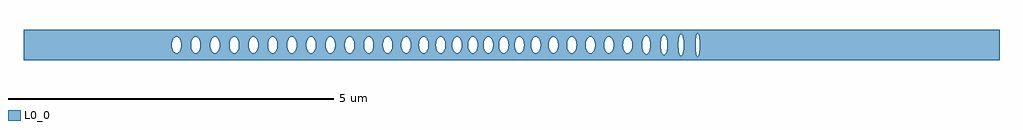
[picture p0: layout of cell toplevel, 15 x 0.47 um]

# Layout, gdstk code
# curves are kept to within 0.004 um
import gdstk
lib = gdstk.Library(unit=1e-6, precision=1e-09)
def P(c, l, *ps):  # polygons
    for p in ps: c.add(gdstk.Polygon(p, *l))
L0_0 = (0, 0)

toplevel = lib.new_cell('toplevel')
P(toplevel, L0_0, [(-4.629,0.016),(-4.621,0.061),(-4.603,0.098),(-4.603,0.234),(-7.5,0.234),(-7.5,-0.008),(-5.221,-0.008),(-5.216,0.047),(-5.198,0.093),(-5.175,0.119),(-5.148,0.128),(-5.114,0.112),(-5.09,0.075),(-5.078,0.032),(-5.077,-0.016),(-4.925,-0.016),(-4.922,0.039),(-4.909,0.081),(-4.888,0.112),(-4.853,0.128),(-4.826,0.119),(-4.803,0.093),(-4.785,0.047),(-4.78,0),(-4.785,-0.047),(-4.803,-0.093),(-4.826,-0.119),(-4.853,-0.128),(-4.879,-0.119),(-4.899,-0.098),(-4.914,-0.068),(-4.925,-0.016),(-5.077,-0.016),(-5.087,-0.068),(-5.102,-0.098),(-5.122,-0.119),(-5.148,-0.128),(-5.175,-0.119),(-5.195,-0.098),(-5.21,-0.068),(-5.221,-0.008),(-7.5,-0.008),(-7.5,-0.234),(-4.603,-0.234),(-4.603,-0.098),(-4.623,-0.054)],
  [(-4.596,0.108),(-4.584,0.119),(-4.557,0.128),(-4.53,0.119),(-4.518,0.108),(-4.501,0.081),(-4.49,0.047),(-4.485,-0.008),(-4.334,-0.008),(-4.329,0.047),(-4.308,0.098),(-4.284,0.121),(-4.261,0.128),(-4.248,0.125),(-4.223,0.108),(-4.203,0.075),(-4.191,0.032),(-4.189,-0.008),(-4.194,-0.047),(-4.212,-0.093),(-4.235,-0.119),(-4.261,-0.128),(-4.288,-0.119),(-4.308,-0.098),(-4.323,-0.068),(-4.334,-0.008),(-4.485,-0.008),(-4.501,-0.081),(-4.53,-0.119),(-4.557,-0.128),(-4.571,-0.125),(-4.603,-0.098),(-4.603,-0.234),(-3.952,-0.234),(-3.952,-0.125),(-3.979,-0.125),(-4.005,-0.108),(-4.027,-0.068),(-4.038,-0.016),(-4.035,0.039),(-4.019,0.087),(-3.992,0.119),(-3.966,0.128),(-3.952,0.125),(-3.952,0.234),(-4.603,0.234),(-4.603,0.098)],
  [(-3.446,0.016),(-3.442,0.047),(-3.424,0.093),(-3.409,0.112),(-3.388,0.125),(-3.374,0.128),(-3.348,0.119),(-3.328,0.098),(-3.313,0.068),(-3.313,0.234),(-3.952,0.234),(-3.952,0.125),(-3.927,0.108),(-3.907,0.075),(-3.898,0.047),(-3.894,-0.016),(-3.742,-0.016),(-3.74,0.032),(-3.729,0.075),(-3.705,0.112),(-3.67,0.128),(-3.643,0.119),(-3.624,0.098),(-3.609,0.068),(-3.598,0.016),(-3.601,-0.039),(-3.614,-0.081),(-3.643,-0.119),(-3.67,-0.128),(-3.697,-0.119),(-3.72,-0.093),(-3.734,-0.061),(-3.742,-0.016),(-3.894,-0.016),(-3.898,-0.047),(-3.916,-0.093),(-3.931,-0.112),(-3.952,-0.125),(-3.952,-0.234),(-3.313,-0.234),(-3.313,-0.068),(-3.328,-0.098),(-3.348,-0.119),(-3.374,-0.128),(-3.401,-0.119),(-3.421,-0.098),(-3.436,-0.068),(-3.446,-0.024)],
  [(-2.558,-0.032),(-2.556,0.234),(-3.313,0.234),(-3.313,0.068),(-3.303,0.024),(-3.303,-0.016),(-3.151,-0.016),(-3.148,0.039),(-3.135,0.081),(-3.114,0.112),(-3.079,0.128),(-3.052,0.119),(-3.029,0.093),(-3.011,0.047),(-3.007,-0.016),(-2.855,-0.016),(-2.853,0.032),(-2.842,0.075),(-2.818,0.112),(-2.783,0.128),(-2.756,0.119),(-2.737,0.098),(-2.724,0.075),(-2.711,0.016),(-2.713,-0.032),(-2.724,-0.075),(-2.748,-0.112),(-2.783,-0.128),(-2.81,-0.119),(-2.833,-0.093),(-2.847,-0.061),(-2.855,-0.016),(-3.007,-0.016),(-3.011,-0.047),(-3.029,-0.093),(-3.052,-0.119),(-3.079,-0.128),(-3.105,-0.119),(-3.125,-0.098),(-3.14,-0.068),(-3.151,-0.016),(-3.303,-0.016),(-3.313,-0.068),(-3.313,-0.234),(-2.556,-0.234)],
  [(-1.975,0.016),(-1.969,0.054),(-1.953,0.093),(-1.93,0.119),(-1.903,0.128),(-1.903,0.234),(-2.556,0.234),(-2.556,0.039),(-2.534,0.098),(-2.514,0.119),(-2.487,0.128),(-2.453,0.112),(-2.429,0.075),(-2.417,0.032),(-2.416,-0.016),(-2.265,-0.016),(-2.263,0.032),(-2.252,0.075),(-2.228,0.112),(-2.193,0.128),(-2.166,0.119),(-2.143,0.093),(-2.127,0.054),(-2.121,0.016),(-2.123,-0.032),(-2.134,-0.075),(-2.158,-0.112),(-2.193,-0.128),(-2.22,-0.119),(-2.243,-0.093),(-2.265,-0.016),(-2.416,-0.016),(-2.426,-0.068),(-2.441,-0.098),(-2.461,-0.119),(-2.487,-0.128),(-2.514,-0.119),(-2.526,-0.108),(-2.546,-0.075),(-2.556,-0.042),(-2.556,-0.234),(-1.903,-0.234),(-1.903,-0.128),(-1.93,-0.119),(-1.953,-0.093),(-1.969,-0.054)],
  [(-1.903,0.234),(-1.903,0.128),(-1.876,0.119),(-1.85,0.087),(-1.834,0.039),(-1.831,-0.008),(-1.694,-0.008),(-1.689,0.047),(-1.671,0.093),(-1.648,0.119),(-1.621,0.128),(-1.595,0.119),(-1.575,0.098),(-1.56,0.068),(-1.549,0.016),(-1.552,-0.039),(-1.565,-0.081),(-1.586,-0.112),(-1.621,-0.128),(-1.648,-0.119),(-1.671,-0.093),(-1.689,-0.047),(-1.694,-0.008),(-1.831,-0.008),(-1.834,-0.039),(-1.85,-0.087),(-1.876,-0.119),(-1.903,-0.128),(-1.903,-0.234),(-1.291,-0.234),(-1.291,-0.075),(-1.323,-0.119),(-1.349,-0.128),(-1.376,-0.119),(-1.396,-0.098),(-1.411,-0.068),(-1.422,-0.008),(-1.411,0.068),(-1.396,0.098),(-1.376,0.119),(-1.349,0.128),(-1.323,0.119),(-1.291,0.075),(-1.291,0.234)],
  [(-1.278,-0.024),(-1.291,-0.075),(-1.291,-0.234),(-0.644,-0.234),(-0.644,-0.093),(-0.662,-0.047),(-0.667,-0.008),(-0.662,0.047),(-0.644,0.093),(-0.644,0.234),(-1.291,0.234),(-1.291,0.074),(-1.279,0.032),(-1.277,-0.008),(-1.161,-0.008),(-1.156,0.047),(-1.138,0.093),(-1.115,0.119),(-1.088,0.128),(-1.062,0.119),(-1.039,0.093),(-1.021,0.047),(-1.016,-0.008),(-0.91,-0.008),(-0.905,0.047),(-0.88,0.103),(-0.851,0.125),(-0.837,0.128),(-0.811,0.119),(-0.791,0.098),(-0.776,0.068),(-0.765,-0.008),(-0.779,-0.075),(-0.802,-0.112),(-0.819,-0.123),(-0.851,-0.125),(-0.88,-0.103),(-0.901,-0.061),(-0.91,-0.008),(-1.016,-0.008),(-1.021,-0.047),(-1.039,-0.093),(-1.062,-0.119),(-1.088,-0.128),(-1.115,-0.119),(-1.135,-0.098),(-1.15,-0.068),(-1.161,-0.008),(-1.277,-0.008)],
  [(-0.19,0.016),(-0.18,0.068),(-0.165,0.098),(-0.145,0.119),(-0.11,0.126),(-0.11,0.234),(-0.644,0.234),(-0.644,0.093),(-0.629,0.112),(-0.608,0.125),(-0.581,0.125),(-0.559,0.112),(-0.533,0.068),(-0.524,0.032),(-0.522,-0.016),(-0.428,-0.016),(-0.425,0.039),(-0.412,0.081),(-0.391,0.112),(-0.356,0.128),(-0.329,0.119),(-0.306,0.093),(-0.29,0.054),(-0.283,0),(-0.297,-0.075),(-0.317,-0.108),(-0.342,-0.125),(-0.369,-0.125),(-0.395,-0.108),(-0.417,-0.068),(-0.428,-0.016),(-0.522,-0.016),(-0.533,-0.068),(-0.545,-0.093),(-0.559,-0.112),(-0.581,-0.125),(-0.594,-0.128),(-0.621,-0.119),(-0.644,-0.093),(-0.644,-0.234),(-0.11,-0.234),(-0.11,-0.126),(-0.145,-0.119),(-0.168,-0.093),(-0.186,-0.047)],
  [(0.444,-0.039),(0.434,-0.075),(0.414,-0.108),(0.389,-0.125),(0.362,-0.125),(0.34,-0.112),(0.317,-0.075),(0.305,-0.032),(0.303,0.008),(0.308,0.047),(0.326,0.093),(0.349,0.119),(0.375,0.128),(0.402,0.119),(0.422,0.098),(0.437,0.068),(0.448,0.008),(0.448,0.234),(-0.11,0.234),(-0.11,0.126),(-0.08,0.108),(-0.06,0.075),(-0.048,0.032),(-0.046,-0.008),(0.05,-0.008),(0.055,0.047),(0.073,0.093),(0.096,0.119),(0.122,0.128),(0.149,0.119),(0.169,0.098),(0.186,0.061),(0.195,0.008),(0.19,-0.047),(0.172,-0.093),(0.149,-0.119),(0.122,-0.128),(0.096,-0.119),(0.076,-0.098),(0.061,-0.068),(0.05,-0.008),(-0.046,-0.008),(-0.051,-0.047),(-0.069,-0.093),(-0.092,-0.119),(-0.11,-0.126),(-0.11,-0.234),(0.448,-0.234),(0.448,-0.008)],
  [(1.14,0.016),(1.148,0.061),(1.169,0.103),(1.169,0.234),(0.448,0.234),(0.448,-0.016),(0.573,-0.016),(0.575,0.032),(0.586,0.075),(0.61,0.112),(0.645,0.128),(0.672,0.119),(0.698,0.087),(0.714,0.039),(0.717,-0.008),(0.854,-0.008),(0.859,0.047),(0.877,0.093),(0.9,0.119),(0.926,0.128),(0.953,0.119),(0.973,0.098),(0.988,0.068),(0.999,0.008),(0.994,-0.047),(0.976,-0.093),(0.953,-0.119),(0.926,-0.128),(0.9,-0.119),(0.88,-0.098),(0.865,-0.068),(0.854,-0.008),(0.717,-0.008),(0.714,-0.039),(0.698,-0.087),(0.672,-0.119),(0.645,-0.128),(0.618,-0.119),(0.595,-0.093),(0.581,-0.061),(0.573,-0.016),(0.448,-0.016),(0.448,-0.234),(1.169,-0.234),(1.169,-0.103),(1.144,-0.047)],
  [(1.714,0.016),(1.724,0.068),(1.739,0.098),(1.759,0.119),(1.79,0.127),(1.79,0.234),(1.169,0.234),(1.169,0.103),(1.185,0.119),(1.212,0.128),(1.251,0.108),(1.268,0.081),(1.279,0.047),(1.284,-0.016),(1.425,-0.016),(1.428,0.039),(1.441,0.081),(1.47,0.119),(1.497,0.128),(1.524,0.119),(1.547,0.093),(1.563,0.054),(1.57,0),(1.563,-0.054),(1.547,-0.093),(1.524,-0.119),(1.497,-0.128),(1.47,-0.119),(1.451,-0.098),(1.436,-0.068),(1.425,-0.016),(1.284,-0.016),(1.268,-0.081),(1.238,-0.119),(1.212,-0.128),(1.198,-0.125),(1.169,-0.103),(1.169,-0.234),(1.79,-0.234),(1.79,-0.127),(1.759,-0.119),(1.736,-0.093),(1.716,-0.039)],
  [(1.854,-0.039),(1.844,-0.075),(1.828,-0.103),(1.812,-0.119),(1.79,-0.127),(1.79,-0.234),(2.378,-0.234),(2.378,-0.118),(2.364,-0.143),(2.351,-0.153),(2.338,-0.153),(2.326,-0.143),(2.305,-0.098),(2.293,-0.019),(2.296,0.057),(2.32,0.135),(2.338,0.153),(2.351,0.153),(2.364,0.143),(2.378,0.118),(2.378,0.234),(1.79,0.234),(1.79,0.127),(1.82,0.112),(1.844,0.075),(1.855,0.032),(1.856,-0.018),(2.009,-0.018),(2.013,0.052),(2.023,0.09),(2.041,0.123),(2.063,0.14),(2.079,0.14),(2.098,0.127),(2.114,0.103),(2.126,0.068),(2.133,0.018),(2.126,-0.068),(2.108,-0.114),(2.079,-0.14),(2.052,-0.134),(2.034,-0.114),(2.017,-0.068),(2.009,-0.018),(1.856,-0.018)],
  [(2.395,-0.038),(2.378,-0.118),(2.378,-0.234),(7.5,-0.234),(7.5,0.234),(2.378,0.234),(2.378,0.118),(2.392,0.065),(2.396,-0.021),(2.565,-0.021),(2.574,0.106),(2.584,0.141),(2.604,0.167),(2.615,0.164),(2.625,0.151),(2.641,0.098),(2.648,-0.011),(2.829,-0.011),(2.835,0.106),(2.847,0.163),(2.859,0.18),(2.871,0.171),(2.88,0.146),(2.89,0.077),(2.889,-0.087),(2.88,-0.146),(2.863,-0.18),(2.851,-0.171),(2.842,-0.146),(2.829,-0.011),(2.648,-0.011),(2.641,-0.098),(2.625,-0.151),(2.609,-0.167),(2.596,-0.162),(2.58,-0.129),(2.565,-0.021),(2.396,-0.021)])

lib.write_gds('toplevel.gds')
